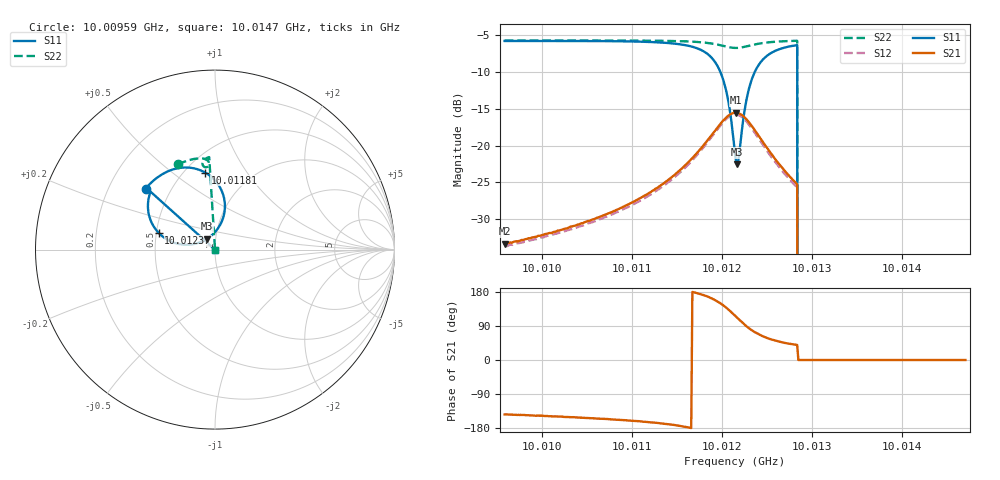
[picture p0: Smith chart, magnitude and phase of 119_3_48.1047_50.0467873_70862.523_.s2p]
#  HZ  S  RI  R  50.00
! Rohde & Schwarz Vector Network Analyzer
! Rohde-Schwarz,ZNB20-2Port,1311601062101988,3.16
! Created: UTC 12/23/2023, 3:46:34 AM
! freq[Hz]  re:S11  im:S11  re:S21  im:S21  re:S12  im:S12  re:S22  im:S22
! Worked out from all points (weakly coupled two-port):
!   401 points, 10.00959 GHz to 10.0147 GHz, reference 50 ohm
!   highest |S21| = -15.53 dB at 10.01216 GHz (marker M1); lowest = -33.3 dB at 10.00959 GHz (marker M2)
!   lowest |S11| = -22.5 dB at 10.01217 GHz (marker M3), VSWR 1.16, Z = 45.5 + j5.54 ohm
!   |S11| at or under -10 dB: 10.01198 GHz to 10.01236 GHz (380.1 kHz wide, 0.0038 % of centre); 10.01283 GHz to end of sweep
!   |S22| runs from - to -5.7 dB; largest |S21 - S12| = 0.0084
!   S11 on the Smith chart (normalised r, x): 10.00959 GHz: 0.36, +0.33; 10.01181 GHz: 0.63, +0.66; 10.01237 GHz: 0.52, +0.11; 10.0147 GHz: 1.00, +0.00
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1.0009588e10  -0.3867 0.3401  -0.0173 -0.0127  -0.016 -0.0132  -0.2064 0.4751
1.0010444e10  -0.3318 0.3935  -0.0263 -0.0138  -0.0247 -0.0145  -0.1528 0.4957
1.0010955e10  -0.282 0.4267  -0.0373 -0.0138  -0.035 -0.0151  -0.1179 0.5048
1.00113e10  -0.2294 0.4482  -0.0512 -0.0123  -0.0485 -0.0143  -0.092 0.5085
1.0011581e10  -0.1569 0.4573  -0.0724 -0.00489  -0.0694 -0.00877  -0.0678 0.5078
1.0011811e10  -0.0535 0.4285  -0.1019 0.018  -0.0996 0.0126  -0.0454 0.4995
1.0011926e10  0.0149 0.3669  -0.1177 0.0488  -0.1169 0.0415  -0.0355 0.4882
1.0012016e10  0.0531 0.2714  -0.1203 0.0876  -0.1211 0.08  -0.0333 0.475
1.001208e10  0.0459 0.1783  -0.1064 0.1214  -0.1093 0.1137  -0.0377 0.4651
1.0012143e10  -0.00963 0.0875  -0.0755 0.1492  -0.0794 0.1424  -0.0474 0.4592
1.0012156e10  -0.0258 0.0734  -0.0682 0.1527  -0.072 0.1463  -0.0498 0.4588
1.0012169e10  -0.0439 0.0605  -0.0602 0.1555  -0.0636 0.1494  -0.0523 0.4588
1.0012194e10  -0.0828 0.041  -0.0441 0.1587  -0.0475 0.153  -0.057 0.4598
1.0012246e10  -0.1651 0.0269  -0.0116 0.1562  -0.0163 0.1507  -0.0645 0.4648
1.0012284e10  -0.221 0.0362  0.00901 0.1476  0.00414 0.1424  -0.0682 0.4704
1.0012373e10  -0.3133 0.0926  0.0381 0.1188  0.0329 0.115  -0.0693 0.4845
1.0012539e10  -0.371 0.2079  0.0515 0.0727  0.0463 0.0711  -0.058 0.5025
1.0012808e10  -0.3614 0.3158  0.043 0.0369  0.0394 0.0369  -0.0345 0.5149
1.0012872e10  0 0  0 0  0 0  0 0
1.0012999e10  0 0  0 0  0 0  0 0
1.0013855e10  0 0  0 0  0 0  0 0
1.0014698e10  0 0  0 0  0 0  0 0
